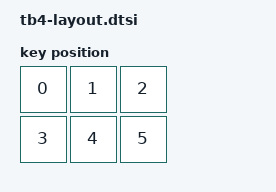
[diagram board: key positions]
/*
 * Manufacture : 2026 Zerotype
 * Copyright (c) 2024 The ZMK Contributors
 * SPDX-License-Identifier: MIT
 */

#include <physical_layouts.dtsi>

/ {
    chosen {
        zmk,physical-layout = &all_1u_layout;
    };

    all_1u_layout: keymap_layout_0 {
        compatible = "zmk,physical-layout";
        display-name = "Default";

        transform = <&all_1u_transform>;

        keys  //                     w   h    x    y     rot    rx    ry
            = <&key_physical_attrs 100 100    0    0       0     0     0>
            , <&key_physical_attrs 100 100  100    0       0     0     0>
            , <&key_physical_attrs 100 100  200    0       0     0     0>
            , <&key_physical_attrs 100 100    0  100       0     0     0>
            , <&key_physical_attrs 100 100  100  100       0     0     0>
            , <&key_physical_attrs 100 100  200  100       0     0     0>
            ;
    };
};
